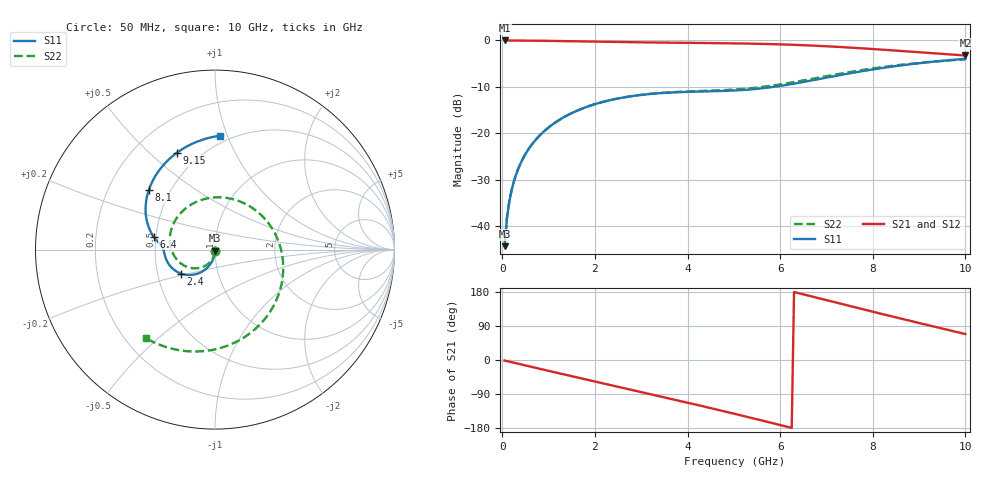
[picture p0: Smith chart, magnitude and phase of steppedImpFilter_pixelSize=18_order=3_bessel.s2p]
! freq	dB(S11)	phase(S11)	dB(S12)	phase(S12)
!  dB(S21)	phase(S21)	dB(S22)	phase(S22)
!S-par simulation data
#  GHz  S  DB  R 50
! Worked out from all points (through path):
!   200 points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, 50 MHz to 10 GHz, reference 50 ohm
!   highest |S21| = 0.00 dB at 50 MHz (marker M1); lowest = -3.2 dB at 10 GHz (marker M2)
!   group delay of S21, straight-line fit = 81.3 ps
!   lowest |S11| = -44.3 dB at 50 MHz (marker M3), VSWR 1.01, Z = 50 - j0.612 ohm
!   |S11| at or under -10 dB: start of sweep to 5.851 GHz
!   |S22| runs from -44.3 to -4.1 dB; largest |S21 - S12| = 0
!   S11 on the Smith chart (normalised r, x): 50 MHz: 1.00, -0.01; 2.4 GHz: 0.66, -0.19; 6.4 GHz: 0.49, +0.08; 8.1 GHz: 0.38, +0.34; 9.15 GHz: 0.38, +0.61; 10 GHz: 0.44, +0.94
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0.05  -44.26 -91.1  -0.00 -1.5  -0.00 -1.5  -44.27 -91.6
0.1  -38.25 -92.5  -0.00 -2.9  -0.00 -2.9  -38.26 -93.5
0.15  -34.74 -93.8  -0.01 -4.3  -0.01 -4.3  -34.75 -95.3
0.2  -32.26 -95.1  -0.01 -5.8  -0.01 -5.8  -32.26 -97.1
0.35  -27.47 -98.9  -0.02 -10.1  -0.02 -10.1  -27.46 -102.4
0.5  -24.45 -102.6  -0.04 -14.4  -0.04 -14.4  -24.43 -107.5
0.7  -21.63 -107.4  -0.05 -20.1  -0.05 -20.1  -21.63 -114.3
1  -18.72 -114.5  -0.09 -28.6  -0.09 -28.6  -18.73 -124.4
1.75  -14.57 -131.4  -0.21 -49.8  -0.21 -49.8  -14.55 -150.0
2.4  -12.69 -145.0  -0.32 -67.9  -0.32 -67.9  -12.68 -172.8
2.9  -11.84 -154.5  -0.39 -81.7  -0.39 -81.7  -11.82 168.7
3.4  -11.35 -163.0  -0.45 -95.7  -0.45 -95.7  -11.31 149.1
4.2  -11.01 -173.9  -0.53 -118.3  -0.53 -118.3  -10.91 114.5
5.05  -10.75 178.4  -0.63 -143.0  -0.63 -143.0  -10.54 72.6
5.75  -10.13 173.8  -0.77 -164.0  -0.77 -164.0  -9.83 35.8
6.4  -9.12 168.0  -0.98 176.2  -0.98 176.2  -8.78 2.8
6.7  -8.57 164.3  -1.10 167.0  -1.10 167.0  -8.24 -11.5
7.35  -7.35 153.8  -1.44 147.1  -1.44 147.1  -7.06 -39.8
8.1  -6.09 137.9  -1.91 124.4  -1.91 124.4  -5.88 -68.5
8.35  -5.72 132.0  -2.08 116.9  -2.08 116.9  -5.55 -77.2
9.15  -4.73 111.4  -2.64 93.2  -2.64 93.2  -4.70 -103.0
10  -3.95 87.7  -3.24 68.4  -3.24 68.4  -4.07 -127.9
